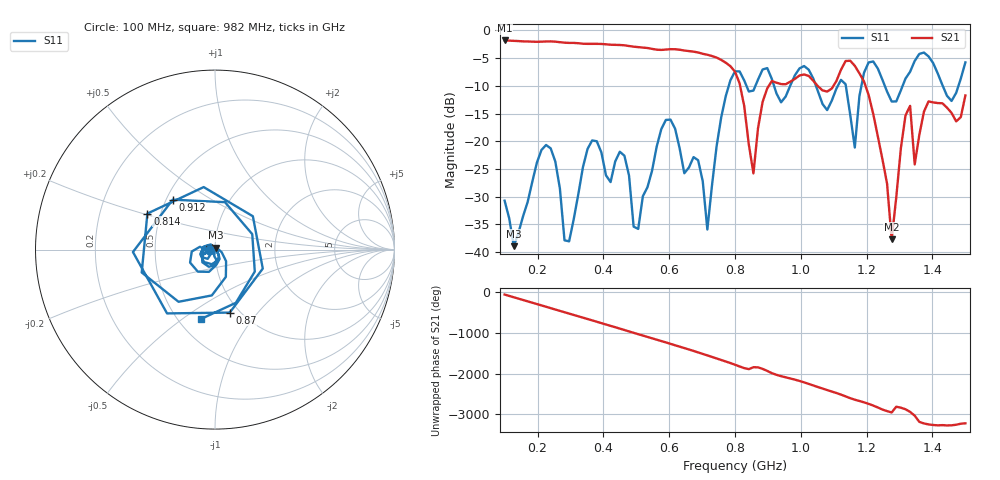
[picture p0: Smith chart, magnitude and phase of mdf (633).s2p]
! NanoVNA-App
! Date: 2025-09-25 15:43:20
! Start: 100MHz Stop: 1,5GHz Points: 101
! S-Parameter data: F S11 S21 S12 S22
# Hz S RI R 50
!  Frequency  S11_Real  S11_Imag  S21_Real  S21_Imag  S12_Real  S12_Imag  S22_Real  S22_Imag
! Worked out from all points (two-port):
!   101 points, 100 MHz to 1.5 GHz, reference 50 ohm
!   highest |S21| = -1.80 dB at 100 MHz (marker M1); lowest = -37.7 dB at 1.276 GHz (marker M2)
!   |S21| within 3 dB of the highest: start of sweep to 739.3 MHz
!   lowest |S11| = -39.0 dB at 128 MHz (marker M3), VSWR 1.02, Z = 50.3 + j1.08 ohm
!   |S11| at or under -10 dB: start of sweep to 781.1 MHz; 1.046 GHz to 1.113 GHz (66.62 MHz wide, 6.17 % of centre); 1.255 GHz to 1.309 GHz (54.18 MHz wide, 4.23 % of centre) (the widest 3 of 7)
!   S12 and S22 are empty: the file has one direction only
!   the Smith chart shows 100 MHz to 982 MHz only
!   S11 on the Smith chart (normalised r, x): 100 MHz: 0.94, -0.01; 814 MHz: 0.42, +0.21; 870 MHz: 0.90, -0.73; 912 MHz: 0.54, +0.35; 982 MHz: 0.64, -0.59
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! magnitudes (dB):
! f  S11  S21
! 100 MHz  -30.7  -1.8
! 128 MHz  -39.0  -1.9
! 212 MHz  -21.6  -2.0
! 282 MHz  -37.9  -2.2
! 338 MHz  -24.7  -2.4
! 464 MHz  -22.6  -2.7
! 506 MHz  -35.8  -3.0
! 576 MHz  -17.8  -3.5
! 716 MHz  -35.9  -4.4
! 800 MHz  -7.4  -7.4
! 814 MHz  -7.4  -9.6
! 856 MHz  -10.9  -25.8
! 870 MHz  -8.9  -17.6
! 912 MHz  -8.8  -9.1
! 982 MHz  -8.1  -8.7
! 1.038 GHz  -8.7  -9.1
! 1.164 GHz  -21.1  -6.4
! 1.192 GHz  -7.6  -9.2
! 1.276 GHz  -12.8  -37.7
! 1.332 GHz  -7.5  -13.6
! 1.346 GHz  -5.5  -24.2
! 1.5 GHz  -5.8  -11.7
